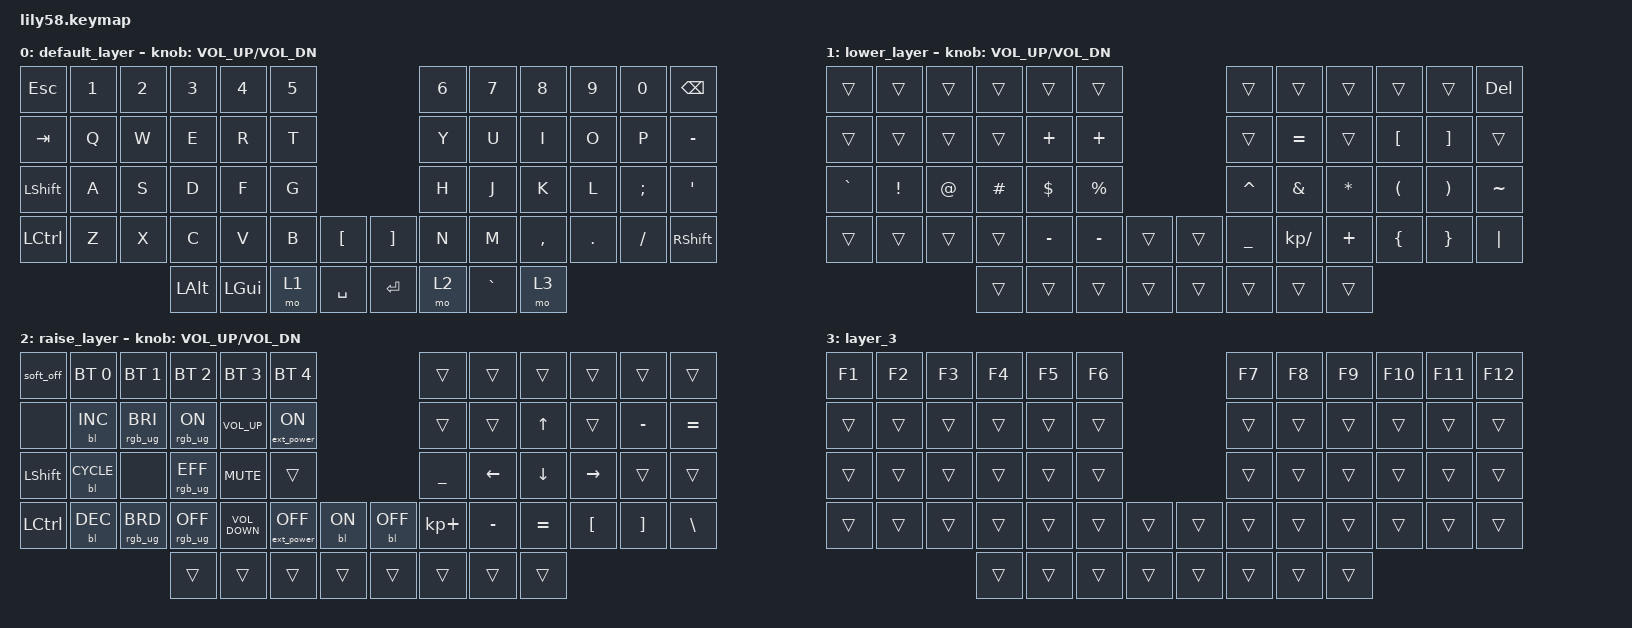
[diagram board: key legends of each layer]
/*
 * Copyright (c) 2020 The ZMK Contributors
 *
 * SPDX-License-Identifier: MIT
 */

#include <behaviors.dtsi>
#include <dt-bindings/zmk/backlight.h>
#include <dt-bindings/zmk/bt.h>
#include <dt-bindings/zmk/ext_power.h>
#include <dt-bindings/zmk/keys.h>
#include <dt-bindings/zmk/rgb.h>

/ {
    keymap {
        compatible = "zmk,keymap";

        default_layer {
            // ------------------------------------------------------------------------------------------------------------
            // |  ESC  |  1  |  2  |  3   |  4   |  5   |                   |  6   |  7    |  8    |  9   |   0   |   `   |
            // |  TAB  |  Q  |  W  |  E   |  R   |  T   |                   |  Y   |  U    |  I    |  O   |   P   |   -   |
            // |  CTRL |  A  |  S  |  D   |  F   |  G   |                   |  H   |  J    |  K    |  L   |   ;   |   '   |
            // | SHIFT |  Z  |  X  |  C   |  V   |  B   |   "["  |  |  "]"  |  N   |  M    |  ,    |  .   |   /   | SHIFT |
            //                     | ALT  | GUI  | LOWER|  SPACE |  | ENTER | RAISE| BSPC  | GUI   |

            bindings = <
&kp ESC           &kp N1  &kp N2  &kp N3    &kp N4    &kp N5                         &kp N6  &kp N7     &kp N8     &kp N9   &kp N0    &kp BACKSPACE
&kp TAB           &kp Q   &kp W   &kp E     &kp R     &kp T                          &kp Y   &kp U      &kp I      &kp O    &kp P     &kp MINUS
&kp LSHIFT        &kp A   &kp S   &kp D     &kp F     &kp G                          &kp H   &kp J      &kp K      &kp L    &kp SEMI  &kp SQT
&kp LEFT_CONTROL  &kp Z   &kp X   &kp C     &kp V     &kp B   &kp LBKT     &kp RBKT  &kp N   &kp M      &kp COMMA  &kp DOT  &kp FSLH  &kp RSHFT
                                  &kp LALT  &kp LGUI  &mo 1   &kp SPACE    &kp RET   &mo 2   &kp GRAVE  &mo 3
            >;

            sensor-bindings = <&inc_dec_kp C_VOL_UP C_VOL_DN>;
        };

        lower_layer {
            // ------------------------------------------------------------------------------------------------------------
            // | BTCLR | BT1 | BT2 |  BT3 |  BT4 |  BT5 |                   |      |       |       |      |       |       |
            // |  F1   |  F2 |  F3 |  F4  |  F5  |  F6  |                   |  F7  |  F8   |  F9   |  F10 |  F11  |  F12  |
            // |   `   |  !  |  @  |  #   |  $   |  %   |                   |  ^   |  &    |  *    |  (   |   )   |   ~   |
            // |       |     |     |      |      |      |        |  |       |      |  _    |  +    |  {   |   }   |  "|"  |
            //                     |      |      |      |        |  |       |      |       |       |

            bindings = <
&trans     &trans    &trans  &trans    &trans      &trans                       &trans          &trans         &trans     &trans            &trans             &kp DEL
&trans     &trans    &trans  &trans    &kp PLUS    &kp PLUS                     &trans          &kp EQUAL      &trans     &kp LEFT_BRACKET  &kp RIGHT_BRACKET  &trans
&kp GRAVE  &kp EXCL  &kp AT  &kp HASH  &kp DOLLAR  &kp PRCNT                    &kp CARET       &kp AMPS       &kp ASTRK  &kp LPAR          &kp RPAR           &kp TILDE
&trans     &trans    &trans  &trans    &kp MINUS   &kp MINUS  &trans    &trans  &kp UNDERSCORE  &kp KP_DIVIDE  &kp PLUS   &kp LBRC          &kp RBRC           &kp PIPE
                             &trans    &trans      &trans     &trans    &trans  &trans          &trans         &trans
            >;

            sensor-bindings = <&inc_dec_kp C_VOL_UP C_VOL_DN>;
        };

        raise_layer {
            // ------------------------------------------------------------------------------------------------------------
            // |       |     |     |      |      |      |                   |      |       |       |      |       |       |
            // |   `   |  1  |  2  |  3   |  4   |  5   |                   |  6   |   7   |   8   |  9   |   0   |       |
            // |   F1  |  F2 |  F3 |  F4  |  F5  |  F6  |                   |      |   <-  |   v   |  ^   |  ->   |       |
            // |   F7  |  F8 |  F9 |  F10 |  F11 |  F12 |        |  |       |  +   |   -   |   =   |  [   |   ]   |   \   |
            //                     |      |      |      |        |  |       |      |       |       |

            bindings = <
&soft_off         &bt BT_SEL 0  &bt BT_SEL 1     &bt BT_SEL 2     &bt BT_SEL 3       &bt BT_SEL 4                                &trans          &trans     &trans        &trans     &trans     &trans
&none             &bl BL_INC    &rgb_ug RGB_BRI  &rgb_ug RGB_ON   &kp K_VOLUME_UP    &ext_power EP_ON                            &trans          &trans     &kp UP_ARROW  &trans     &kp MINUS  &kp EQUAL
&kp LEFT_SHIFT    &bl BL_CYCLE  &none            &rgb_ug RGB_EFF  &kp K_MUTE         &trans                                      &kp UNDERSCORE  &kp LEFT   &kp DOWN      &kp RIGHT  &trans     &trans
&kp LEFT_CONTROL  &bl BL_DEC    &rgb_ug RGB_BRD  &rgb_ug RGB_OFF  &kp K_VOLUME_DOWN  &ext_power EP_OFF  &bl BL_ON    &bl BL_OFF  &kp KP_PLUS     &kp MINUS  &kp EQUAL     &kp LBKT   &kp RBKT   &kp BSLH
                                                 &trans           &trans             &trans             &trans       &trans      &trans          &trans     &trans
            >;

            sensor-bindings = <&inc_dec_kp C_VOL_UP C_VOL_DN>;
        };

        layer_3 {
            bindings = <
&kp F1  &kp F2  &kp F3  &kp F4  &kp F5  &kp F6                    &kp F7  &kp F8  &kp F9  &kp F10  &kp F11  &kp F12
&trans  &trans  &trans  &trans  &trans  &trans                    &trans  &trans  &trans  &trans   &trans   &trans
&trans  &trans  &trans  &trans  &trans  &trans                    &trans  &trans  &trans  &trans   &trans   &trans
&trans  &trans  &trans  &trans  &trans  &trans  &trans    &trans  &trans  &trans  &trans  &trans   &trans   &trans
                        &trans  &trans  &trans  &trans    &trans  &trans  &trans  &trans
            >;
        };
    };
};

&led_strip { chain-length = <71>; };
